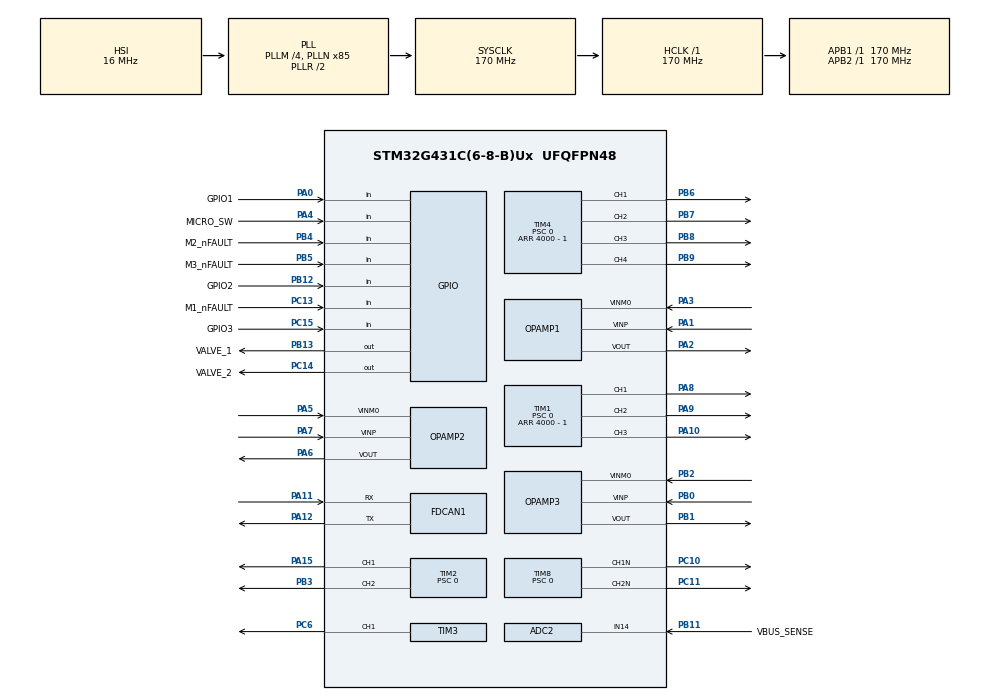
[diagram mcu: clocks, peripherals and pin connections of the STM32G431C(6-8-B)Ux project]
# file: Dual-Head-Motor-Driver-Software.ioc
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ADC1.Channel-0\#ChannelRegularConversion=ADC_CHANNEL_3
ADC1.Channel-1\#ChannelRegularConversion=ADC_CHANNEL_12
ADC1.DMAAccessModeView=ENABLE
ADC1.DMAContinuousRequests=ENABLE
ADC1.EOCSelection=ADC_EOC_SEQ_CONV
ADC1.ExternalTrigConv=ADC_EXTERNALTRIG_T1_TRGO
ADC1.Mode=ADC_DUALMODE_REGSIMULT
ADC1.NbrOfConversion=2
ADC1.NbrOfConversionFlag=1
ADC1.OffsetNumber-0\#ChannelRegularConversion=ADC_OFFSET_NONE
ADC1.OffsetNumber-1\#ChannelRegularConversion=ADC_OFFSET_NONE
ADC1.Overrun=ADC_OVR_DATA_OVERWRITTEN
ADC1.Rank-0\#ChannelRegularConversion=1
ADC1.Rank-1\#ChannelRegularConversion=2
ADC1.SamplingTime-0\#ChannelRegularConversion=ADC_SAMPLETIME_6CYCLES_5
ADC1.SamplingTime-1\#ChannelRegularConversion=ADC_SAMPLETIME_6CYCLES_5
ADC1.master=1
ADC2.Channel-0\#ChannelRegularConversion=ADC_CHANNEL_3
ADC2.Channel-1\#ChannelRegularConversion=ADC_CHANNEL_14
ADC2.DMAAccessModeView=ENABLE
ADC2.EOCSelection=ADC_EOC_SEQ_CONV
ADC2.Mode=ADC_DUALMODE_REGSIMULT
ADC2.NbrOfConversion=2
ADC2.NbrOfConversionFlag=1
ADC2.OffsetNumber-0\#ChannelRegularConversion=ADC_OFFSET_NONE
ADC2.OffsetNumber-1\#ChannelRegularConversion=ADC_OFFSET_NONE
ADC2.Overrun=ADC_OVR_DATA_OVERWRITTEN
ADC2.Rank-0\#ChannelRegularConversion=1
ADC2.Rank-1\#ChannelRegularConversion=2
ADC2.SamplingTime-0\#ChannelRegularConversion=ADC_SAMPLETIME_6CYCLES_5
ADC2.SamplingTime-1\#ChannelRegularConversion=ADC_SAMPLETIME_6CYCLES_5
Dma.ADC1.0.Direction=DMA_PERIPH_TO_MEMORY
Dma.ADC1.0.EventEnable=DISABLE
Dma.ADC1.0.Instance=DMA1_Channel1
Dma.ADC1.0.MemDataAlignment=DMA_MDATAALIGN_WORD
Dma.ADC1.0.MemInc=DMA_MINC_ENABLE
Dma.ADC1.0.Mode=DMA_CIRCULAR
Dma.ADC1.0.PeriphDataAlignment=DMA_PDATAALIGN_WORD
Dma.ADC1.0.PeriphInc=DMA_PINC_DISABLE
Dma.ADC1.0.Polarity=HAL_DMAMUX_REQ_GEN_RISING
Dma.ADC1.0.Priority=DMA_PRIORITY_LOW
Dma.ADC1.0.RequestNumber=1
Dma.ADC1.0.SignalID=NONE
Dma.ADC1.0.SyncEnable=DISABLE
Dma.ADC1.0.SyncPolarity=HAL_DMAMUX_SYNC_NO_EVENT
Dma.ADC1.0.SyncRequestNumber=1
Dma.ADC1.0.SyncSignalID=NONE
Dma.Request0=ADC1
FDCAN1.CalculateBaudRateNominal=1000000
FDCAN1.CalculateTimeBitNominal=1000
FDCAN1.CalculateTimeQuantumNominal=100.0
FDCAN1.DataPrescaler=17
FDCAN1.DataTimeSeg2=6
FDCAN1.NominalPrescaler=17
FDCAN1.NominalTimeSeg1=6
FDCAN1.NominalTimeSeg2=3
FDCAN1.StdFiltersNbr=1
Mcu.Family=STM32G4
Mcu.Name=STM32G431C(6-8-B)Ux
Mcu.Package=UFQFPN48
NVIC.DMA1_Channel1_IRQn=true\:0\:0\:false\:false\:true\:false\:true\:true
NVIC.PriorityGroup=NVIC_PRIORITYGROUP_4
NVIC.TIM1_UP_TIM16_IRQn=true\:0\:0\:false\:false\:true\:true\:true\:true
OPAMP1.PgaGain=OPAMP_PGA_GAIN_16_OR_MINUS_15
OPAMP2.PgaGain=OPAMP_PGA_GAIN_16_OR_MINUS_15
OPAMP3.PgaGain=OPAMP_PGA_GAIN_16_OR_MINUS_15
PA0.GPIO_Label=GPIO1
PA0.GPIO_PuPd=GPIO_PULLUP
PA0.Signal=GPIO_Input
PA1.Mode=PGA Connected
PA1.Signal=OPAMP1_VINP
PA10.Signal=S_TIM1_CH3
PA11.Mode=FDCAN_Activate
PA11.Signal=FDCAN1_RX
PA12.Mode=FDCAN_Activate
PA12.Signal=FDCAN1_TX
PA13.Mode=Serial_Wire
PA13.Signal=SYS_JTMS-SWDIO
PA14.Mode=Serial_Wire
PA14.Signal=SYS_JTCK-SWCLK
PA15.Signal=S_TIM2_CH1
PA2.Signal=SharedAnalog_PA2
PA3.Mode=PGA Connected
PA3.Signal=OPAMP1_VINM0
PA4.GPIO_Label=MICRO_SW
PA4.GPIO_PuPd=GPIO_PULLUP
PA4.Signal=GPIO_Input
PA5.Mode=PGA Connected
PA5.Signal=OPAMP2_VINM0
PA6.Signal=SharedAnalog_PA6
PA7.Mode=PGA Connected
PA7.Signal=OPAMP2_VINP
PA8.Signal=S_TIM1_CH1
PA9.Signal=S_TIM1_CH2
PB0.Mode=PGA Connected
PB0.Signal=OPAMP3_VINP
PB1.Signal=SharedAnalog_PB1
PB11.GPIO_Label=VBUS_SENSE
PB11.Signal=SharedAnalog_PB11
PB12.GPIO_Label=GPIO2
PB12.GPIO_PuPd=GPIO_PULLUP
PB12.Signal=GPIO_Input
PB13.GPIO_Label=VALVE_1
PB13.GPIO_Speed=GPIO_SPEED_FREQ_VERY_HIGH
PB13.Signal=GPIO_Output
PB2.Mode=PGA Connected
PB2.Signal=OPAMP3_VINM0
PB3.Signal=S_TIM2_CH2
PB4.GPIO_Label=M2_nFAULT
PB4.GPIO_PuPd=GPIO_PULLUP
PB4.Signal=GPIO_Input
PB5.GPIO_Label=M3_nFAULT
PB5.GPIO_PuPd=GPIO_PULLUP
PB5.Signal=GPIO_Input
PB6.Signal=S_TIM4_CH1
PB7.Signal=S_TIM4_CH2
PB8-BOOT0.Signal=S_TIM4_CH3
PB9.Signal=S_TIM4_CH4
PC10.Mode=PWM Generation1 CH1N
PC10.Signal=TIM8_CH1N
PC11.Mode=PWM Generation2 CH2N
PC11.Signal=TIM8_CH2N
PC13.GPIO_Label=M1_nFAULT
PC13.GPIO_PuPd=GPIO_PULLUP
PC13.Signal=GPIO_Input
PC14-OSC32_IN.GPIO_Label=VALVE_2
PC14-OSC32_IN.Signal=GPIO_Output
PC15-OSC32_OUT.GPIO_Label=GPIO3
PC15-OSC32_OUT.GPIO_PuPd=GPIO_PULLUP
PC15-OSC32_OUT.Signal=GPIO_Input
PC6.Signal=S_TIM3_CH1
PF0-OSC_IN.Mode=HSE-External-Oscillator
PF0-OSC_IN.Signal=RCC_OSC_IN
PF1-OSC_OUT.Mode=HSE-External-Oscillator
PF1-OSC_OUT.Signal=RCC_OSC_OUT
ProjectManager.HeapSize=0x200
ProjectManager.StackSize=0x400
ProjectManager.TargetToolchain=Makefile
RCC.ADC12Freq_Value=170000000
RCC.AHBFreq_Value=170000000
RCC.APB1Freq_Value=170000000
RCC.APB1TimFreq_Value=170000000
RCC.APB2Freq_Value=170000000
RCC.APB2TimFreq_Value=170000000
RCC.CortexFreq_Value=170000000
RCC.EXTERNAL_CLOCK_VALUE=12288000
RCC.HCLKFreq_Value=170000000
RCC.HSE_VALUE=8000000
RCC.HSI48_VALUE=48000000
RCC.HSI_VALUE=16000000
RCC.LSE_VALUE=32768
RCC.PLLM=RCC_PLLM_DIV4
RCC.PLLN=85
RCC.SYSCLKFreq_VALUE=170000000
RCC.SYSCLKSource=RCC_SYSCLKSOURCE_PLLCLK
RCC.USBFreq_Value=170000000
RCC.VCOOutputFreq_Value=340000000
SH.S_TIM1_CH1.0=TIM1_CH1,PWM Generation1 CH1
SH.S_TIM1_CH2.0=TIM1_CH2,PWM Generation2 CH2
SH.S_TIM1_CH3.0=TIM1_CH3,PWM Generation3 CH3
SH.S_TIM2_CH1.0=TIM2_CH1,PWM Generation1 CH1
SH.S_TIM2_CH2.0=TIM2_CH2,PWM Generation2 CH2
SH.S_TIM3_CH1.0=TIM3_CH1,PWM Generation1 CH1
SH.S_TIM4_CH1.0=TIM4_CH1,PWM Generation1 CH1
SH.S_TIM4_CH2.0=TIM4_CH2,PWM Generation2 CH2
SH.S_TIM4_CH3.0=TIM4_CH3,PWM Generation3 CH3
SH.S_TIM4_CH4.0=TIM4_CH4,PWM Generation4 CH4
SH.SharedAnalog_PA2.0=OPAMP1_VOUT,PGA Connected
SH.SharedAnalog_PA2.1=ADC1_IN3,IN3-Single-Ended
SH.SharedAnalog_PA6.0=OPAMP2_VOUT,PGA Connected
SH.SharedAnalog_PA6.1=ADC2_IN3,IN3-Single-Ended
SH.SharedAnalog_PB1.0=OPAMP3_VOUT,PGA Connected
SH.SharedAnalog_PB1.1=ADC1_IN12,IN12-Single-Ended
SH.SharedAnalog_PB11.0=ADC1_IN14
SH.SharedAnalog_PB11.1=ADC2_IN14,IN14-Single-Ended
TIM1.AutoReloadPreload=TIM_AUTORELOAD_PRELOAD_ENABLE
TIM1.Channel-PWM\ Generation1\ CH1=TIM_CHANNEL_1
TIM1.Channel-PWM\ Generation2\ CH2=TIM_CHANNEL_2
TIM1.Channel-PWM\ Generation3\ CH3=TIM_CHANNEL_3
TIM1.CounterMode=TIM_COUNTERMODE_CENTERALIGNED1
TIM1.OCPolarity_1=TIM_OCPOLARITY_LOW
TIM1.OCPolarity_2=TIM_OCPOLARITY_LOW
TIM1.OCPolarity_3=TIM_OCPOLARITY_LOW
TIM1.PeriodNoDither=4000 - 1
TIM1.Prescaler=0
TIM1.TIM_MasterOutputTrigger=TIM_TRGO_UPDATE
TIM2.AutoReloadPreload=TIM_AUTORELOAD_PRELOAD_ENABLE
TIM2.Channel-PWM\ Generation1\ CH1=TIM_CHANNEL_1
TIM2.Channel-PWM\ Generation2\ CH2=TIM_CHANNEL_2
TIM2.CounterMode=TIM_COUNTERMODE_CENTERALIGNED1
TIM2.OCPolarity_1=TIM_OCPOLARITY_LOW
TIM2.OCPolarity_2=TIM_OCPOLARITY_LOW
TIM2.PeriodNoDither=4000 - 1
TIM2.Prescaler=0
TIM3.AutoReloadPreload=TIM_AUTORELOAD_PRELOAD_ENABLE
TIM3.Channel-PWM\ Generation1\ CH1=TIM_CHANNEL_1
TIM3.CounterMode=TIM_COUNTERMODE_CENTERALIGNED1
TIM3.OCPolarity_1=TIM_OCPOLARITY_LOW
TIM3.PeriodNoDither=4000 - 1
TIM3.Prescaler=0
TIM4.AutoReloadPreload=TIM_AUTORELOAD_PRELOAD_ENABLE
TIM4.Channel-PWM\ Generation1\ CH1=TIM_CHANNEL_1
TIM4.Channel-PWM\ Generation2\ CH2=TIM_CHANNEL_2
TIM4.Channel-PWM\ Generation3\ CH3=TIM_CHANNEL_3
TIM4.Channel-PWM\ Generation4\ CH4=TIM_CHANNEL_4
TIM4.CounterMode=TIM_COUNTERMODE_CENTERALIGNED1
TIM4.OCPolarity_1=TIM_OCPOLARITY_LOW
TIM4.OCPolarity_2=TIM_OCPOLARITY_LOW
TIM4.OCPolarity_3=TIM_OCPOLARITY_LOW
TIM4.OCPolarity_4=TIM_OCPOLARITY_LOW
TIM4.PeriodNoDither=4000 - 1
TIM4.Prescaler=0
TIM8.AutoReloadPreload=TIM_AUTORELOAD_PRELOAD_ENABLE
TIM8.Channel-PWM\ Generation1\ CH1N=TIM_CHANNEL_1
TIM8.Channel-PWM\ Generation2\ CH2N=TIM_CHANNEL_2
TIM8.CounterMode=TIM_COUNTERMODE_CENTERALIGNED1
TIM8.OCNPolarity_1=TIM_OCNPOLARITY_HIGH
TIM8.OCNPolarity_2=TIM_OCNPOLARITY_HIGH
TIM8.PeriodNoDither=4000 - 1
TIM8.Prescaler=0
TIM8.PulseNoDither_1=0
VP_CORDIC_VS_CORDIC.Mode=CORDIC_Activate
VP_SYS_VS_DBSignals.Mode=DisableDeadBatterySignals
VP_TIM1_VS_ClockSourceINT.Mode=Internal
VP_TIM2_VS_ClockSourceINT.Mode=Internal
VP_TIM4_VS_ClockSourceINT.Mode=Internal
board=custom

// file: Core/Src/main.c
/* USER CODE BEGIN Header */
/**
  ******************************************************************************
  * @file           : main.c
  * @brief          : Main program body
  ******************************************************************************
  * @attention
  *
  * Copyright (c) 2024 STMicroelectronics.
  * All rights reserved.
  *
  * This software is licensed under terms that can be found in the LICENSE file
  * in the root directory of this software component.
  * If no LICENSE file comes with this software, it is provided AS-IS.
  *
  ******************************************************************************
  */
/* USER CODE END Header */
#include "main.h"
#include "adc.h"
#include "cordic.h"
#include "dma.h"
#include "fdcan.h"
#include "opamp.h"
#include "tim.h"
#include "gpio.h"

/* USER CODE BEGIN Includes */
#include "fdcan.h"
#include "math.h"
#include "stdint.h"

#include "FOC.h"
#include "ErrorHandler.h"
/* USER CODE END Includes */

void SystemClock_Config(void);

/* USER CODE BEGIN 0 */
uint8_t signal500Hz = 0;

/* USER CODE END 0 */

int main(void)
{

  /* MCU Configuration--------------------------------------------------------*/

  /* Reset of all peripherals, Initializes the Flash interface and the Systick. */
  HAL_Init();

  /* Configure the system clock */
  SystemClock_Config();

  /* Initialize all configured peripherals */
  MX_GPIO_Init();
  MX_DMA_Init();
  MX_FDCAN1_Init();
  MX_OPAMP1_Init();
  MX_OPAMP2_Init();
  MX_OPAMP3_Init();
  MX_TIM1_Init();
  MX_TIM2_Init();
  MX_TIM3_Init();
  MX_TIM4_Init();
  MX_TIM8_Init();
  MX_ADC2_Init();
  MX_CORDIC_Init();
  MX_ADC1_Init();
  /* USER CODE BEGIN 2 */
  // FLASH_OBProgramInitTypeDef pOBInit;
  // HAL_FLASHEx_OBGetConfig(&pOBInit);
  // if (!((pOBInit.USERConfig & FLASH_OPTR_nSWBOOT0_Msk) == OB_BOOT0_FROM_OB &&
  //       (pOBInit.USERConfig & FLASH_OPTR_nBOOT0_Msk) == OB_nBOOT0_SET &&
  //       (pOBInit.USERConfig & FLASH_OPTR_NRST_MODE_Msk) == OB_NRST_MODE_GPIO &&
  //       (pOBInit.USERConfig & FLASH_OPTR_BOR_LEV_Msk) == OB_BOR_LEVEL_4 &&
  //       (pOBInit.USERConfig & FLASH_OPTR_nRST_STOP_Msk) == OB_STOP_RST &&
  //       (pOBInit.USERConfig & FLASH_OPTR_nRST_STDBY_Msk) == OB_STANDBY_RST &&
  //       (pOBInit.USERConfig & FLASH_OPTR_nRST_SHDW_Msk) == OB_SHUTDOWN_RST
  // )) {
  //     __disable_irq();
  //     HAL_FLASH_Unlock();
  //     HAL_FLASH_OB_Unlock();

  //     pOBInit.OptionType = OPTIONBYTE_USER;
  //     pOBInit.USERType = 0;
  //     pOBInit.USERConfig = 0;

  //     pOBInit.USERType |= OB_USER_nSWBOOT0;
  //     pOBInit.USERConfig |= OB_BOOT0_FROM_OB;
  //     pOBInit.USERType |= OB_USER_nBOOT0;
  //     pOBInit.USERConfig |= OB_nBOOT0_SET;
  //     pOBInit.USERType |= OB_USER_NRST_MODE;
  //     pOBInit.USERConfig |= OB_NRST_MODE_GPIO;
  //     pOBInit.USERType |= OB_USER_BOR_LEV;
  //     pOBInit.USERConfig |= OB_BOR_LEVEL_4;
  //     pOBInit.USERType |= OB_USER_nRST_STOP;
  //     pOBInit.USERConfig |= OB_STOP_RST;
  //     pOBInit.USERType |= OB_USER_nRST_STDBY;
  //     pOBInit.USERConfig |= OB_STANDBY_RST;
  //     pOBInit.USERType |= OB_USER_nRST_SHDW;
  //     pOBInit.USERConfig |= OB_SHUTDOWN_RST;
  //     pOBInit.USERType |= OB_USER_IRHEN;
  //     pOBInit.USERConfig |= OB_IRH_ENABLE;
  //     HAL_FLASHEx_OBProgram(&pOBInit);
  //     HAL_FLASH_OB_Launch();
  //     HAL_FLASH_OB_Lock();
  //     HAL_FLASH_Lock();
  //     __enable_irq();
  // }

  controlStatus.initializing = 1;
  HAL_GPIO_WritePin(VALVE_1_GPIO_Port, VALVE_1_Pin, GPIO_PIN_RESET);
  HAL_GPIO_WritePin(VALVE_2_GPIO_Port, VALVE_2_Pin, GPIO_PIN_RESET);

  ErrorHandlerInit();
  controlInit();

  HAL_OPAMP_Start(&hopamp1);
  HAL_OPAMP_Start(&hopamp2);
  HAL_OPAMP_Start(&hopamp3);

  HAL_ADCEx_Calibration_Start(&hadc1, ADC_SINGLE_ENDED);
  HAL_ADCEx_Calibration_Start(&hadc2, ADC_SINGLE_ENDED);

  HAL_ADC_Start(&hadc2);
  extern uint32_t adcBuffer[2];
  HAL_ADCEx_MultiModeStart_DMA(&hadc1, adcBuffer, 2);

  disableFOC();

  // 这样做的目的是修改TIM1 Update Event 的相�?
  HAL_TIM_Base_Start_IT(&htim1);
  htim1.Instance->RCR = 1;
  // HAL_TIM_Base_Start(&htim3);
  // HAL_TIM_Base_Start(&htim2);
  // HAL_TIM_Base_Start(&htim8);
  // HAL_TIM_Base_Start(&htim4);

  HAL_TIM_PWM_Start(&htim3, TIM_CHANNEL_1);
  HAL_TIM_PWM_Start(&htim1, TIM_CHANNEL_1);
  HAL_TIM_PWM_Start(&htim1, TIM_CHANNEL_2);
  HAL_TIM_PWM_Start(&htim1, TIM_CHANNEL_3);

  HAL_TIM_PWM_Start(&htim2, TIM_CHANNEL_1);
  HAL_TIMEx_PWMN_Start(&htim8, TIM_CHANNEL_1);
  HAL_TIMEx_PWMN_Start(&htim8, TIM_CHANNEL_2);
  HAL_TIM_PWM_Start(&htim2, TIM_CHANNEL_2);

  HAL_TIM_PWM_Start(&htim4, TIM_CHANNEL_1);
  HAL_TIM_PWM_Start(&htim4, TIM_CHANNEL_2);
  HAL_TIM_PWM_Start(&htim4, TIM_CHANNEL_3);
  HAL_TIM_PWM_Start(&htim4, TIM_CHANNEL_4);

  HAL_Delay(50); // 上电顺序

  resetAndEnableFOC();
  controlStatus.initializing = 0;

  /* USER CODE END 2 */

  /* Infinite loop */
  /* USER CODE BEGIN WHILE */
  while (1)
  {
    for(int i = 0; i < 3; i++)
    {
      moveMotor(i, 1);
      HAL_Delay(1000);
    }
    for(int i = 0; i < 3; i++)
    {
      moveMotor(i, -1);
      HAL_Delay(1000);
    }
    /* USER CODE END WHILE */

  }
}

void SystemClock_Config(void)
{
  RCC_OscInitTypeDef RCC_OscInitStruct = {0};
  RCC_ClkInitTypeDef RCC_ClkInitStruct = {0};

  /** Configure the main internal regulator output voltage
  */
  HAL_PWREx_ControlVoltageScaling(PWR_REGULATOR_VOLTAGE_SCALE1_BOOST);

  /** Initializes the RCC Oscillators according to the specified parameters
  * in the RCC_OscInitTypeDef structure.
  */
  RCC_OscInitStruct.OscillatorType = RCC_OSCILLATORTYPE_HSI;
  RCC_OscInitStruct.HSIState = RCC_HSI_ON;
  RCC_OscInitStruct.HSICalibrationValue = RCC_HSICALIBRATION_DEFAULT;
  RCC_OscInitStruct.PLL.PLLState = RCC_PLL_ON;
  RCC_OscInitStruct.PLL.PLLSource = RCC_PLLSOURCE_HSI;
  RCC_OscInitStruct.PLL.PLLM = RCC_PLLM_DIV4;
  RCC_OscInitStruct.PLL.PLLN = 85;
  RCC_OscInitStruct.PLL.PLLP = RCC_PLLP_DIV2;
  RCC_OscInitStruct.PLL.PLLQ = RCC_PLLQ_DIV2;
  RCC_OscInitStruct.PLL.PLLR = RCC_PLLR_DIV2;
  if (HAL_RCC_OscConfig(&RCC_OscInitStruct) != HAL_OK)
  {
    Error_Handler();
  }

  /** Initializes the CPU, AHB and APB buses clocks
  */
  RCC_ClkInitStruct.ClockType = RCC_CLOCKTYPE_HCLK|RCC_CLOCKTYPE_SYSCLK
                              |RCC_CLOCKTYPE_PCLK1|RCC_CLOCKTYPE_PCLK2;
  RCC_ClkInitStruct.SYSCLKSource = RCC_SYSCLKSOURCE_PLLCLK;
  RCC_ClkInitStruct.AHBCLKDivider = RCC_SYSCLK_DIV1;
  RCC_ClkInitStruct.APB1CLKDivider = RCC_HCLK_DIV1;
  RCC_ClkInitStruct.APB2CLKDivider = RCC_HCLK_DIV1;

  if (HAL_RCC_ClockConfig(&RCC_ClkInitStruct, FLASH_LATENCY_4) != HAL_OK)
  {
    Error_Handler();
  }
}

void Error_Handler(void)
{
  __disable_irq();
  while (1)
  {
  }
}
